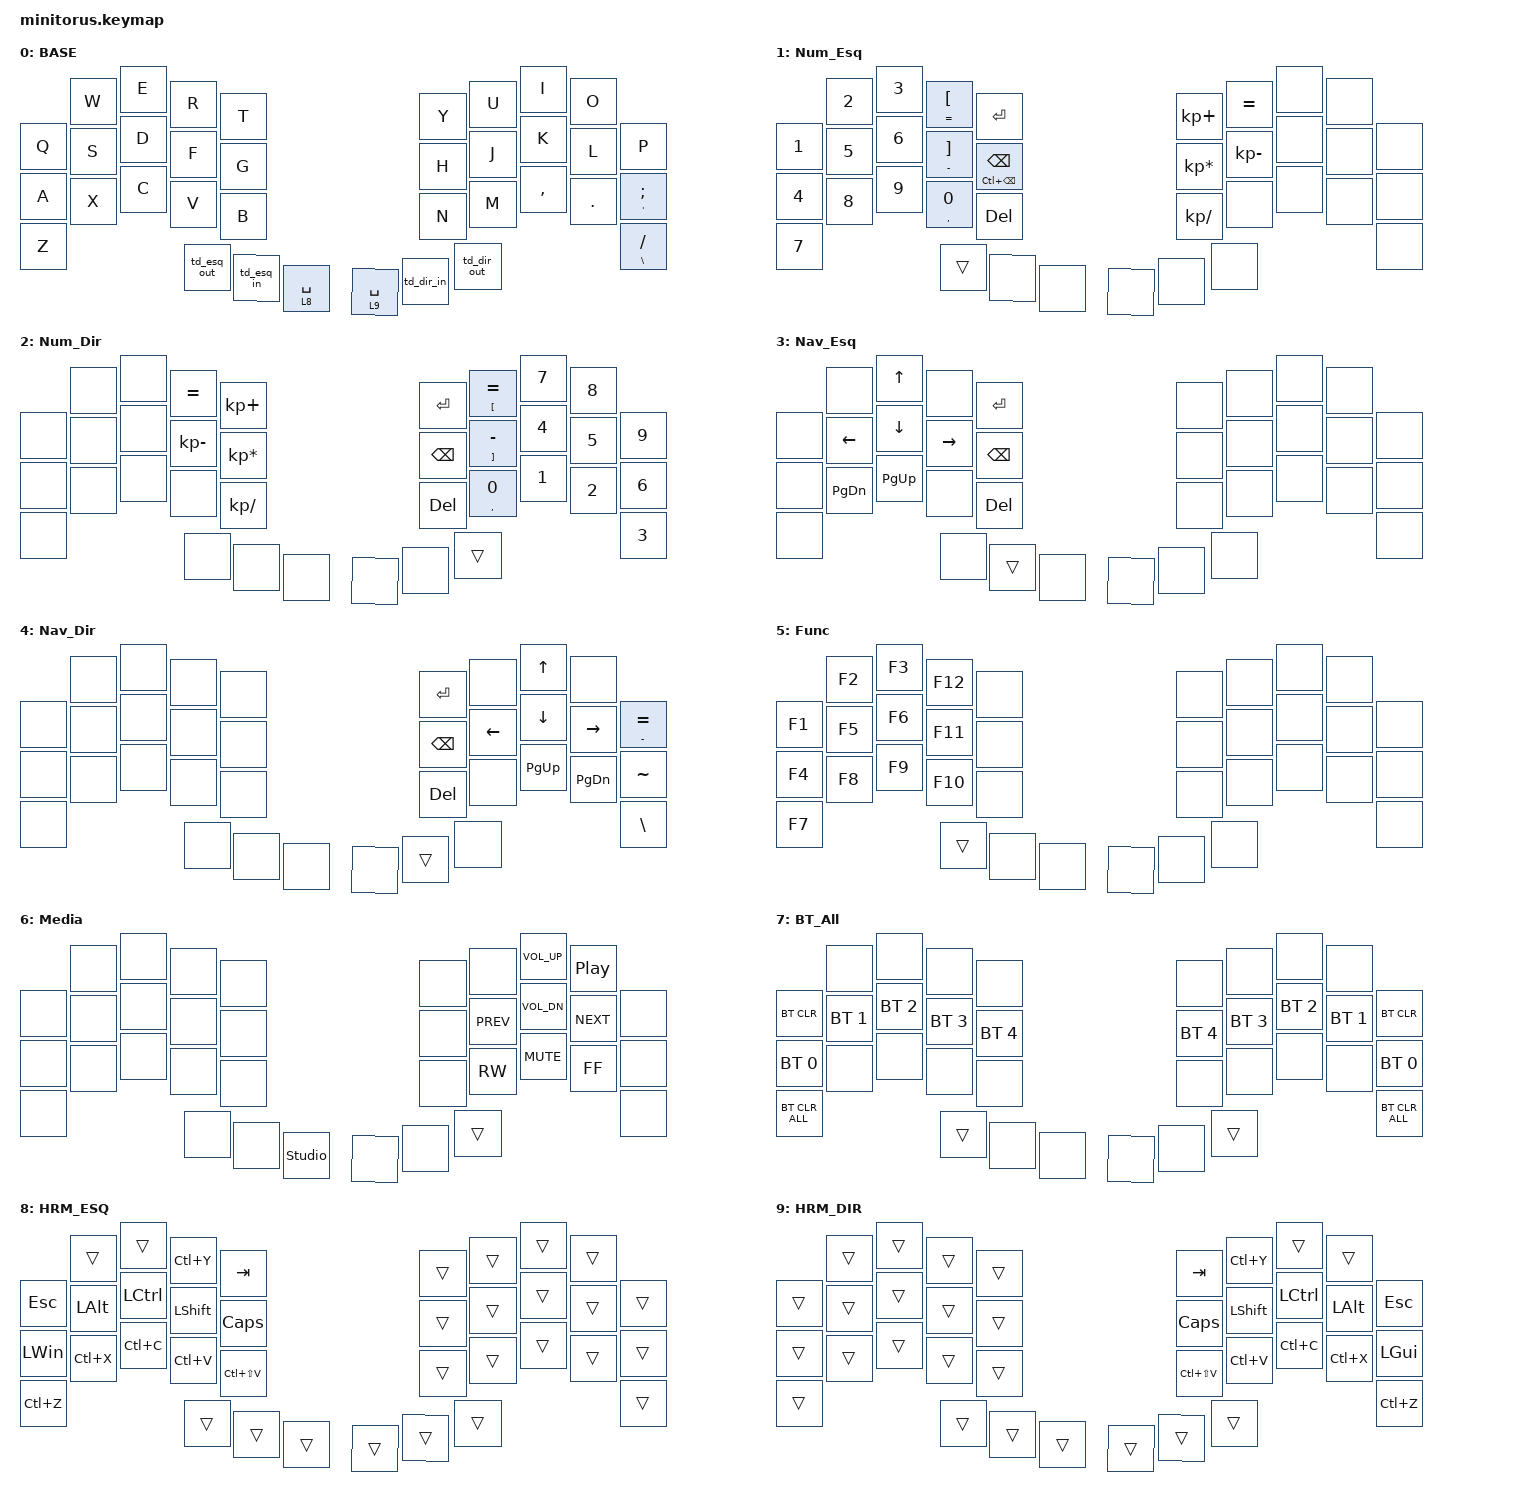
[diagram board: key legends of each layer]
//Inicio das incluçoes

#include <behaviors.dtsi>
#include <dt-bindings/zmk/bt.h>
#include <dt-bindings/zmk/keys.h>
//#include <dt-bindings/zmk/pointing.h>

//Fim das incluçoes


//Inicio das definiçoes de configurações
  //MOUSE

    #define ZMK_POINTING_DEFAULT_MOVE_VAL 1000  // padrão: 600
    #define ZMK_POINTING_DEFAULT_SCRL_VAL 20    // padrão: 10

  //Fim MOUSE  

  //Inicio das definiçoes das camadas

    #define BASE 0
    #define NUM_ESQ 1
    #define NUM_DIR 2
    #define NAV_ESQ 3
    #define NAV_DIR 4
    #define FUNC 5
    #define MEDIA 6
    #define BT 7
    #define HRM_ESQ 8
    #define HRM_DIR 9

  //Fim das definiçoes das camadas

  //Inicio dos comportamentos de teclas
    //MT = MOD-TAP, se eu tocar o SHIFT pelo tempo menor que delimitei, ele vira o caps_word, caso eu continue pressionando o shift, ele se mantem como shift 
    //SK = 
  //Fim dos comportamentos de teclas

// Fim das definiçoes


&lt {
    retro-tap;
    flavor = "tap-preferred";
    tapping-term-ms = <150>; // Reduzido de 200 para 150 milissegundos
    quick-tap-ms = <150>;
};

/ {
  // Ative a camada 'AMBAS' pressionando DIREITA e ESQUERDA
  conditional_layers {
    compatible = "zmk,conditional-layers";
  };
  //Fim

  //Inicio Combos
  combos {
    compatible = "zmk,combos";
    Sen1 {
      bindings = <&Sen1>;
      key-positions = <14 3 2>;
      layers = <BASE>;
    };

    // PONTO NA ESQUERDA (Teclas 9 e 0)
    ponto_esq {
      timeout-ms = <50>;
      key-positions = <22 23>;
      bindings = <&kp DOT>;
      layers = <NUM_ESQ>; // Só funciona na camada de números esquerda
    };

    // PONTO NA DIREITA (Teclas 0 e 7)
    ponto_dir {
      timeout-ms = <50>;
      key-positions = <26 27>;
      bindings = <&kp KP_DOT>; // Usando KP_DOT (Ponto de Numpad)
      layers = <NUM_DIR>; // Só funciona na camada de números direita
    };

    // BLUETOOTH DE SEGURANÇA (2 toques simultâneos nos polegares externos)
    combo_bt {
      timeout-ms = <50>;
      key-positions = <30 35>; // SW30 e SW35
      bindings = <&td_combo_bt>;
    };

  };
  //Fim


  //inicio macro
  macros {
    Sen1: Sen1 {
      compatible = "zmk,behavior-macro";
      #binding-cells = <0>;
      bindings =
        <&macro_tap>,
        <&kp AT &kp LS(K) &kp O &kp LS(D) &kp A &kp UNDER &kp LS(M) &kp A &kp S &kp LS(T) &kp E &kp R &kp EXCL &kp N6 &kp N4 &kp N2 &kp N8 &kp N9 &kp N0 &kp ENTER>;
      label = "SEN1";
    };
  };
  //fim macro


  behaviors {
    hm: homerow_mods {
      compatible = "zmk,behavior-hold-tap";
      #binding-cells = <2>;
      tapping-term-ms = <165>;
      flavor = "tap-preferred";
      bindings = <&kp>, <&kp>;
      retro-tap;
    };

    // NOVO COMPORTAMENTO: Hold-Tap para teclas normais (Substitui o &mt)
    ht: hold_tap_keys {
      compatible = "zmk,behavior-hold-tap";
      label = "HOLD_TAP_KEYS";
      #binding-cells = <2>;
      tapping-term-ms = <200>;
      quick-tap-ms = <150>;
      flavor = "tap-preferred";
      bindings = <&kp>, <&kp>;
    };


    // SW30: POLEGAR ESQUERDO EXTERNO
    // 1x segura = NUM_ESQ | 2x segura = FUNC
    td_esq_out: td_esq_out {
      compatible = "zmk,behavior-tap-dance";
      label = "TD_ESQ_OUT";
      #binding-cells = <0>;
      tapping-term-ms = <350>;
      bindings = <&mo NUM_ESQ>, <&mo FUNC>;
    };

    // POLEGAR ESQUERDO INTERNO (1x = Setas Esq | 2x = Números Esq)
    td_esq_in: td_esq_in {
      compatible = "zmk,behavior-tap-dance";
      label = "TD_ESQ_IN";
      #binding-cells = <0>;
      bindings = <&mo NAV_ESQ>;
    };

    // POLEGAR DIREITO INTERNO (1x = Setas Dir | 2x = Números Dir)
    td_dir_in: td_dir_in {
      compatible = "zmk,behavior-tap-dance";
      label = "TD_DIR_IN";
      #binding-cells = <0>;
      bindings = <&mo NAV_DIR>;
    };

    // SW35: POLEGAR DIREITO EXTERNO
    // 1x segura = NUM_DIR | 2x segura = MEDIA
    td_dir_out: td_dir_out {
      compatible = "zmk,behavior-tap-dance";
      label = "TD_DIR_OUT";
      #binding-cells = <0>;
      tapping-term-ms = <350>;
      bindings = <&mo NUM_DIR>, <&mo MEDIA>;
    };


    // NOVO: Tap-Dance invisível apenas para o Combo do Bluetooth
    // 1 toque = Nada | 2 toques-segura = Camada BT
    td_combo_bt: td_combo_bt {
      compatible = "zmk,behavior-tap-dance";
      label = "TD_COMBO_BT";
      #binding-cells = <0>;
      tapping-term-ms = <250>; // Um pouco maior para facilitar o clique duplo com dois dedos
      bindings = <&none>, <&mo BT>;
    };

    //HRM_ESQ: HRM_ESQ {
      //compatible = "zmk,behavior-tap-dance";
      //label = "HRM_ESQ";
      //#binding-cells = <0>;
      //bindings = <&kp SPACE>, <&mo 8>;
    //};

    //HRM_DIR: HRM_DIR {
      //compatible = "zmk,behavior-tap-dance";
      //label = "HRM_DIR";
      //#binding-cells = <0>;
      //bindings = <&kp SPACE>, <&mo 9>;
    //};
  };

  keymap {
    compatible = "zmk,keymap";

    // Inicio do Layout BASE
    default_layer {
      display-name = "BASE";
      // ┌─────┬─────┬─────┬─────┬─────┐                ┌─────┬─────┬─────┬─────┬─────┐
      // │  Q  │  W  │  E  │  R  │  T  │                │  Y  │  U  │  I  │  O  │  P  │
      // ├─────┼─────┼─────┼─────┼─────┤                ├─────┼─────┼─────┼─────┼─────┤
      // │  A  │  S  │  D  │  F  │  G  │                │  H  │  J  │  K  │  L  │ ; ' │
      // ├─────┼─────┼─────┼─────┼─────┤                ├─────┼─────┼─────┼─────┼─────┤
      // │  Z  │  X  │  C  │  V  │  B  │                │  N  │  M  │  ,  │  .  │ \ / │
      // └─────┴─────┼─────┼─────┼─────┤                ├─────┼─────┼─────┼─────┴─────┘
      //             │ 1x: │ 1x: │ SEG:│                │ SEG:│ 1x: │ 1x: │
      //             │NUM_E│ NAV │HRM_E│                │HRM_D│ NAV │NUM_D│
      //             │     │     │     │                │     │     │     │
      //             │ 2x: │     │     │                │     │     │ 2x: │
      //             │FUNC │     │     │                │     │     │MEDIA│
      //             └─────┴─────┴─────┘                └─────┴─────┴─────┘
      //                      *** 2x NOS DOIS JUNTOS = BT ***
      bindings = <
        &kp Q       &kp W       &kp E        &kp R        &kp T             &kp Y        &kp U      &kp I      &kp O    &kp P
        &kp A       &kp S       &kp D        &kp F        &kp G             &kp H        &kp J      &kp K      &kp L    &ht SQT SEMI
        &kp Z       &kp X       &kp C        &kp V        &kp B             &kp N        &kp M      &kp COMMA  &kp DOT  &ht BSLH FSLH
        &td_esq_out &td_esq_in  &lt 8 SPACE               &lt 9 SPACE       &td_dir_in   &td_dir_out
      >;
    };

    NUM_ESQ {
      display-name = "Num_Esq";
      // ┌─────┬─────┬─────┬─────┬─────┐                ┌─────┬─────┬─────┬─────┬─────┐
      // │  1  │  2  │  3  │ = [ │ ENT │                │  +  │  =  │     │     │     │
      // ├─────┼─────┼─────┼─────┼─────┤                ├─────┼─────┼─────┼─────┼─────┤
      // │  4  │  5  │  6  │ - ] │ BSP │                │  *  │  -  │     │     │     │
      // ├─────┼─────┼─────┼─────┼─────┤                ├─────┼─────┼─────┼─────┼─────┤
      // │  7  │  8  │  9  . , 0 │ DEL │                │  /  │     │     │     │     │
      // └─────┴─────┼─────┼─────┼─────┤                ├─────┼─────┼─────┼─────┴─────┘
      //             │     │     │     │                │     │     │     │
      //             └─────┴─────┴─────┘                └─────┴─────┴─────┘
      bindings = <
        &kp N1  &kp N2  &kp N3  &ht EQUAL LBKT  &kp ENTER                    &kp KP_PLUS      &kp EQUAL     &none  &none  &none
        &kp N4  &kp N5  &kp N6  &ht MINUS RBKT  &ht LC(BACKSPACE) BACKSPACE  &kp KP_MULTIPLY  &kp KP_MINUS  &none  &none  &none
        &kp N7  &kp N8  &kp N9  &ht COMMA N0    &kp DEL                      &kp KP_DIVIDE    &none         &none  &none  &none
        &trans  &none   &none                                                &none            &none         &none
      >;
    };

    NUM_DIR {
      display-name = "Num_Dir";
      // ┌─────┬─────┬─────┬─────┬─────┐                ┌─────┬─────┬─────┬─────┬─────┐
      // │     │     │     │  =  │  +  │                │ ENT │ [ = │  7  │  8  │  9  │
      // ├─────┼─────┼─────┼─────┼─────┤                ├─────┼─────┼─────┼─────┼─────┤
      // │     │     │     │  -  │  *  │                │ BSP │ ] - │  4  │  5  │  6  │
      // ├─────┼─────┼─────┼─────┼─────┤                ├─────┼─────┼─────┼─────┼─────┤
      // │     │     │     │     │  /  │                │ DEL │ 0 , │  1  │  2  │  3  │
      // └─────┴─────┼─────┼─────┼─────┤                ├─────┼─────┼─────┼─────┴─────┘
      //             │     │     │     │                │     │     │     │
      //             └─────┴─────┴─────┘                └─────┴─────┴─────┘
      bindings = <
        &none  &none  &none  &kp EQUAL     &kp KP_PLUS        &kp ENTER      &ht LBKT EQUAL   &kp N7  &kp N8  &kp N9
        &none  &none  &none  &kp KP_MINUS  &kp KP_MULTIPLY    &kp BACKSPACE  &ht RBKT MINUS   &kp N4  &kp N5  &kp N6
        &none  &none  &none  &none         &kp KP_DIVIDE      &kp DEL        &ht COMMA N0     &kp N1  &kp N2  &kp N3
        &none  &none  &none                                   &none          &none            &trans
      >;
    };

    NAV_ESQ {
      display-name = "Nav_Esq";
      // ┌─────┬─────┬─────┬─────┬─────┐                ┌─────┬─────┬─────┬─────┬─────┐
      // │     │     │  ▲  │     │ ENT │                │     │     │     │     │     │
      // ├─────┼─────┼─────┼─────┼─────┤                ├─────┼─────┼─────┼─────┼─────┤
      // │     │  ◄  │  ▼  │  ►  │ BSP │                │     │     │     │     │     │
      // ├─────┼─────┼─────┼─────┼─────┤                ├─────┼─────┼─────┼─────┼─────┤
      // │     │ PGD │ PGU │     │ DEL │                │     │     │     │     │     │
      // └─────┴─────┼─────┼─────┼─────┤                ├─────┼─────┼─────┼─────┴─────┘
      //             │     │     │     │                │     │     │     │
      //             └─────┴─────┴─────┘                └─────┴─────┴─────┘
      bindings = <
        &none &none      &kp UP     &none      &kp ENTER          &none  &none  &none  &none  &none
        &none &kp LEFT   &kp DOWN   &kp RIGHT  &kp BACKSPACE      &none  &none  &none  &none  &none
        &none &kp PG_DN  &kp PG_UP  &none      &kp DEL            &none  &none  &none  &none  &none
        &none &trans     &none                                    &none  &none  &none
      >;
    };

    NAV_DIR {
      display-name = "Nav_Dir";
      // ┌─────┬─────┬─────┬─────┬─────┐                ┌─────┬─────┬─────┬─────┬─────┐
      // │     │     │     │     │     │                │ ENT │     │  ▲  │     │ - = │
      // ├─────┼─────┼─────┼─────┼─────┤                ├─────┼─────┼─────┼─────┼─────┤
      // │     │     │     │     │     │                │ BSP │  ◄  │  ▼  │  ►  │  ~  │
      // ├─────┼─────┼─────┼─────┼─────┤                ├─────┼─────┼─────┼─────┼─────┤
      // │     │     │     │     │     │                │ DEL │     │ PGU │ PGD │  \  │
      // └─────┴─────┼─────┼─────┼─────┤                ├─────┼─────┼─────┼─────┴─────┘
      //             │     │     │     │                │     │     │     │
      //             └─────┴─────┴─────┘                └─────┴─────┴─────┘
      bindings = <
        &none  &none  &none  &none  &none         &kp ENTER      &none     &kp UP     &none      &ht MINUS EQUAL
        &none  &none  &none  &none  &none         &kp BACKSPACE  &kp LEFT  &kp DOWN   &kp RIGHT  &kp TILDE
        &none  &none  &none  &none  &none         &kp DEL        &none     &kp PG_UP  &kp PG_DN  &kp BSLH
        &none  &none  &none                       &none          &trans    &none
      >;
    };

    FUNC {
      display-name = "Func";
      // ┌─────┬─────┬─────┬─────┬─────┐                ┌─────┬─────┬─────┬─────┬─────┐
      // │ F1  │ F2  │ F3  │ F12 │     │                │     │     │     │     │     │
      // ├─────┼─────┼─────┼─────┼─────┤                ├─────┼─────┼─────┼─────┼─────┤
      // │ F4  │ F5  │ F6  │ F11 │     │                │     │     │     │     │     │
      // ├─────┼─────┼─────┼─────┼─────┤                ├─────┼─────┼─────┼─────┼─────┤
      // │ F7  │ F8  │ F9  │ F10 │     │                │     │     │     │     │     │
      // └─────┴─────┼─────┼─────┼─────┤                ├─────┼─────┼─────┼─────┴─────┘
      //             │TRANS│     │     │                │     │     │     │
      //             └─────┴─────┴─────┘                └─────┴─────┴─────┘
      bindings = <
        &kp F1  &kp F2  &kp F3  &kp F12  &none            &none  &none  &none  &none  &none
        &kp F4  &kp F5  &kp F6  &kp F11  &none            &none  &none  &none  &none  &none
        &kp F7  &kp F8  &kp F9  &kp F10  &none            &none  &none  &none  &none  &none
        &trans  &none   &none                             &none  &none  &none
      >;
    };

    MEDIA {
      display-name = "Media";
      // ┌─────┬─────┬─────┬─────┬─────┐                ┌─────┬─────┬─────┬─────┬─────┐
      // │     │     │     │     │     │                │     │     │ VOL+│ >|| │     │
      // ├─────┼─────┼─────┼─────┼─────┤                ├─────┼─────┼─────┼─────┼─────┤
      // │     │     │     │     │     │                │     │ |<< │ VOL-│ >>| │     │
      // ├─────┼─────┼─────┼─────┼─────┤                ├─────┼─────┼─────┼─────┼─────┤
      // │     │     │     │     │     │                │     │ <<  │ MUTE│  >> │     │
      // └─────┴─────┼─────┼─────┼─────┤                ├─────┼─────┼─────┼─────┴─────┘
      //             │     │     │UNLCK│                │     │     │TRANS│
      //             └─────┴─────┴─────┘                └─────┴─────┴─────┘
      bindings = <
        &none  &none  &none  &none  &none            &none  &none       &kp C_VOL_UP  &kp C_PP    &none
        &none  &none  &none  &none  &none            &none  &kp C_PREV  &kp C_VOL_DN  &kp C_NEXT  &none
        &none  &none  &none  &none  &none            &none  &kp C_RW    &kp C_MUTE    &kp C_FF    &none
        &none  &none  &studio_unlock                 &none  &none       &trans
      >;
    };

    BT {
      display-name = "BT_All";
      // ┌─────┬─────┬─────┬─────┬─────┐                ┌─────┬─────┬─────┬─────┬─────┐
      // │ CLR │     │     │     │     │                │     │     │     │     │ CLR │
      // ├─────┼─────┼─────┼─────┼─────┤                ├─────┼─────┼─────┼─────┼─────┤
      // │ BT0 │ BT1 │ BT2 │ BT3 │ BT4 │                │ BT4 │ BT3 │ BT2 │ BT1 │ BT0 │
      // ├─────┼─────┼─────┼─────┼─────┤                ├─────┼─────┼─────┼─────┼─────┤
      // │C_ALL│     │     │     │     │                │     │     │     │     │C_ALL│
      // └─────┴─────┼─────┼─────┼─────┤                ├─────┼─────┼─────┼─────┴─────┘
      //             │     │     │     │                │     │     │     │
      //             └─────┴─────┴─────┘                └─────┴─────┴─────┘
      bindings = <
        &bt BT_CLR      &none         &none         &none         &none           &none         &none         &none         &none         &bt BT_CLR
        &bt BT_SEL 0    &bt BT_SEL 1  &bt BT_SEL 2  &bt BT_SEL 3  &bt BT_SEL 4    &bt BT_SEL 4  &bt BT_SEL 3  &bt BT_SEL 2  &bt BT_SEL 1  &bt BT_SEL 0
        &bt BT_CLR_ALL  &none         &none         &none         &none           &none         &none         &none         &none         &bt BT_CLR_ALL
                                      &trans        &none         &none           &none         &none         &trans
      >;
    };

    HRM_ESQ {
      display-name = "HRM_ESQ";
      // ┌─────┬─────┬─────┬─────┬─────┐                ┌─────┬─────┬─────┬─────┬─────┐
      // │ ESC │     │     │ C_Y │ TAB │                │     │     │     │     │     │
      // ├─────┼─────┼─────┼─────┼─────┤                ├─────┼─────┼─────┼─────┼─────┤
      // │ WIN │ ALT │ CTL │ SFT │ CPS │                │     │     │     │     │     │
      // ├─────┼─────┼─────┼─────┼─────┤                ├─────┼─────┼─────┼─────┼─────┤
      // │ C_Z │ C_X │ C_C │ C_V │CS_V │                │     │     │     │     │     │
      // └─────┴─────┼─────┼─────┼─────┤                ├─────┼─────┼─────┼─────┴─────┘
      //             │     │     │     │                │     │     │     │
      //             └─────┴─────┴─────┘                └─────┴─────┴─────┘
      bindings = <
        &kp ESC       &trans        &trans            &kp LC(Y)  &kp TAB                      &trans  &trans  &trans  &trans  &trans
        &kp LEFT_WIN  &kp LEFT_ALT  &kp LEFT_CONTROL  &kp LSHFT  &kp CAPS                     &trans  &trans  &trans  &trans  &trans
        &kp LC(Z)     &kp LC(X)     &kp LC(C)         &kp LC(V)  &kp LC(LS(V))                &trans  &trans  &trans  &trans  &trans 
        &trans        &trans        &trans                                                    &trans  &trans  &trans
      >;
    };

    HRM_DIR {
      display-name = "HRM_DIR";
      // ┌─────┬─────┬─────┬─────┬─────┐                ┌─────┬─────┬─────┬─────┬─────┐
      // │     │     │     │     │     │                │ TAB │ C_Y │     │     │ ESC │
      // ├─────┼─────┼─────┼─────┼─────┤                ├─────┼─────┼─────┼─────┼─────┤
      // │     │     │     │     │     │                │ CPS │ SFT │ CTL │ ALT │ WIN │
      // ├─────┼─────┼─────┼─────┼─────┤                ├─────┼─────┼─────┼─────┼─────┤
      // │     │     │     │     │     │                │CS_V │ C_V │ C_C │ C_X │ C_Z │
      // └─────┴─────┼─────┼─────┼─────┤                ├─────┼─────┼─────┼─────┴─────┘
      //             │     │     │     │                │     │     │     │
      //             └─────┴─────┴─────┘                └─────┴─────┴─────┘
      bindings = <
        &trans  &trans  &trans  &trans  &trans          &kp TAB        &kp LC(Y)  &trans     &trans     &kp ESC
        &trans  &trans  &trans  &trans  &trans          &kp CAPS       &kp LSHFT  &kp LCTRL  &kp LALT   &kp LGUI
        &trans  &trans  &trans  &trans  &trans          &kp LC(LS(V))  &kp LC(V)  &kp LC(C)  &kp LC(X)  &kp LC(Z)
        &trans  &trans  &trans                          &trans         &trans     &trans
      >;
    };

    //MOUSE {
    //   display-name = "ESQRD_MOUSE";
    //   bindings = <
      // ┌─────┬─────┬─────┬─────┬─────┐                ┌─────┬─────┬─────┬─────┬─────┐
      // │ MB3 │ MB4 │  ▲  │ MB5 │ SC↑ │                │     │     │     │     │     │
      // ├─────┼─────┼─────┼─────┼─────┤                ├─────┼─────┼─────┼─────┼─────┤
      // │     │  ◄  │  ▼  │  ►  │ SC↓ │                │     │     │     │     │     │
      // ├─────┼─────┼─────┼─────┼─────┤                ├─────┼─────┼─────┼─────┼─────┤
      // │ TO0 │ SC← │ SC→ │     │     │                │     │     │     │     │     │
      // └─────┴─────┼─────┼─────┼─────┤                ├─────┼─────┼─────┼─────┴─────┘
      //             │     │ MB1 │ MB2 │                │     │     │     │
      //             └─────┴─────┴─────┘                └─────┴─────┴─────┘
    //    &mkp MB3  &mkp MB4        &mmv MOVE_UP    &mkp MB5         &msc SCRL_UP               &none  &none  &none  &none  &none
    //    &none     &mmv MOVE_LEFT  &mmv MOVE_DOWN  &mmv MOVE_RIGHT  &msc SCRL_DOWN             &none  &none  &none  &none  &none
    //    &to 0     &msc SCRL_LEFT  &msc SCRL_RIGHT &none            &none                      &none  &none  &none  &none  &none
    //    &none     &mkp MB1        &mkp MB2                                                    &none  &none  &none
    //  >;
    //};
  };
};
